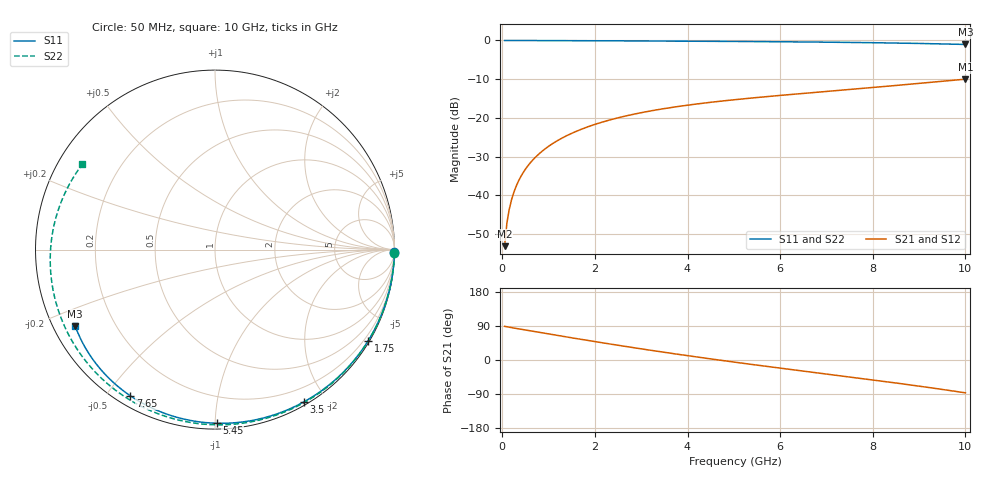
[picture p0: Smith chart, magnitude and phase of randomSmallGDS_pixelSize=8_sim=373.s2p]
! freq	dB(S11)	phase(S11)	dB(S12)	phase(S12)
!  dB(S21)	phase(S21)	dB(S22)	phase(S22)
!S-par simulation data
#  GHz  S  DB  R 50
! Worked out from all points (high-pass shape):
!   200 points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, 50 MHz to 10 GHz, reference 50 ohm
!   highest |S21| = -9.99 dB at 10 GHz (marker M1); lowest = -53.1 dB at 50 MHz (marker M2)
!   |S21| within 3 dB of the highest: 7.17 GHz to end of sweep
!   lowest |S11| = -1.0 dB at 10 GHz (marker M3), VSWR 16.79, Z = 3.17 - j12.7 ohm
!   |S11| at or under -10 dB: nowhere
!   |S22| runs from -1.1 to 0.0 dB; largest |S21 - S12| = 0
!   S11 on the Smith chart (normalised r, x): 50 MHz: open; 1.75 GHz: 0.05, -3.63; 3.5 GHz: 0.04, -1.74; 5.45 GHz: 0.03, -1.01; 7.65 GHz: 0.04, -0.58; 10 GHz: 0.06, -0.25
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0.05  -0.00 -0.9  -53.11 88.8  -53.11 88.8  -0.00 -1.2
0.1  -0.00 -1.8  -47.10 87.6  -47.10 87.6  -0.00 -2.5
0.15  -0.00 -2.7  -43.60 86.5  -43.60 86.5  -0.00 -3.7
0.2  -0.01 -3.6  -41.12 85.4  -41.12 85.4  -0.01 -4.9
0.25  -0.01 -4.5  -39.19 84.4  -39.19 84.4  -0.01 -6.1
0.35  -0.01 -6.3  -36.29 82.3  -36.29 82.3  -0.01 -8.5
0.5  -0.01 -8.9  -33.22 79.2  -33.22 79.2  -0.02 -12.1
0.7  -0.02 -12.5  -30.34 75.0  -30.34 75.0  -0.03 -16.9
1  -0.03 -17.8  -27.32 68.7  -27.32 68.7  -0.04 -24.1
1.35  -0.04 -23.9  -24.83 61.6  -24.83 61.6  -0.05 -32.4
1.75  -0.06 -30.8  -22.72 53.5  -22.72 53.5  -0.08 -41.7
2.6  -0.10 -45.2  -19.68 37.0  -19.68 37.0  -0.12 -61.0
3.4  -0.15 -58.2  -17.78 22.1  -17.78 22.1  -0.17 -78.3
3.5  -0.15 -59.8  -17.59 20.3  -17.59 20.3  -0.18 -80.4
4.25  -0.20 -71.6  -16.32 7.1  -16.32 7.1  -0.23 -95.8
5.05  -0.26 -83.6  -15.25 -6.2  -15.25 -6.2  -0.29 -111.7
5.45  -0.29 -89.5  -14.79 -12.7  -14.79 -12.7  -0.33 -119.5
6.7  -0.40 -107.2  -13.47 -32.3  -13.47 -32.3  -0.46 -143.5
7.65  -0.53 -120.1  -12.50 -47.1  -12.50 -47.1  -0.60 -162.0
8.35  -0.64 -129.5  -11.78 -58.2  -11.78 -58.2  -0.72 -176.1
9.2  -0.82 -140.8  -10.87 -72.4  -10.87 -72.4  -0.91 165.8
10  -1.04 -151.4  -9.99 -86.6  -9.99 -86.6  -1.12 147.2
